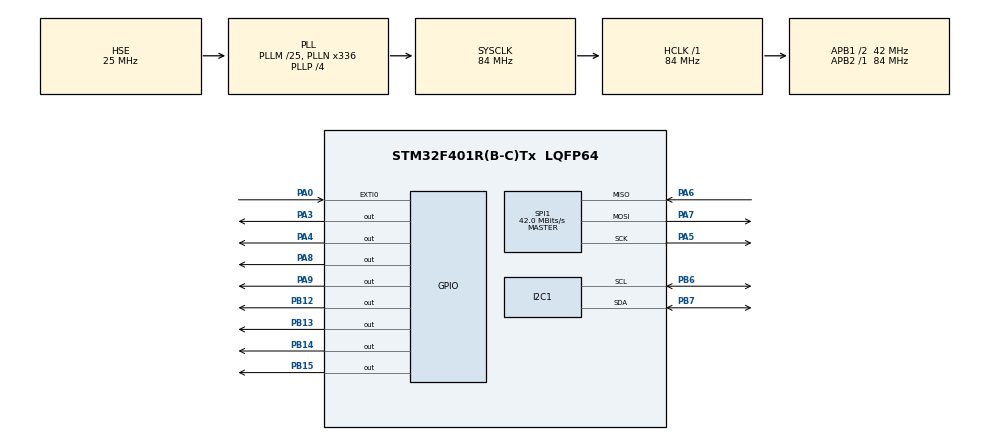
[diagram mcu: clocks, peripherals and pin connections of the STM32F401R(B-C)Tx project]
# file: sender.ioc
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Mcu.Family=STM32F4
Mcu.Name=STM32F401R(B-C)Tx
Mcu.Package=LQFP64
NVIC.PriorityGroup=NVIC_PRIORITYGROUP_4
PA0-WKUP.Signal=GPXTI0
PA3.GPIO_Speed=GPIO_SPEED_FREQ_HIGH
PA3.Signal=GPIO_Output
PA4.GPIO_Speed=GPIO_SPEED_FREQ_HIGH
PA4.Signal=GPIO_Output
PA5.Mode=Full_Duplex_Master
PA5.Signal=SPI1_SCK
PA6.Mode=Full_Duplex_Master
PA6.Signal=SPI1_MISO
PA7.Mode=Full_Duplex_Master
PA7.Signal=SPI1_MOSI
PA8.GPIO_Speed=GPIO_SPEED_FREQ_HIGH
PA8.Signal=GPIO_Output
PA9.GPIO_Speed=GPIO_SPEED_FREQ_HIGH
PA9.Signal=GPIO_Output
PB12.GPIO_Speed=GPIO_SPEED_FREQ_HIGH
PB12.Signal=GPIO_Output
PB13.GPIO_Speed=GPIO_SPEED_FREQ_HIGH
PB13.Signal=GPIO_Output
PB14.GPIO_Speed=GPIO_SPEED_FREQ_HIGH
PB14.Signal=GPIO_Output
PB15.GPIO_Speed=GPIO_SPEED_FREQ_HIGH
PB15.Signal=GPIO_Output
PB6.Mode=I2C
PB6.Signal=I2C1_SCL
PB7.Mode=I2C
PB7.Signal=I2C1_SDA
PC14-OSC32_IN.Mode=LSE-External-Oscillator
PC14-OSC32_IN.Signal=RCC_OSC32_IN
PC15-OSC32_OUT.Mode=LSE-External-Oscillator
PC15-OSC32_OUT.Signal=RCC_OSC32_OUT
PH0\ -\ OSC_IN.Mode=HSE-External-Oscillator
PH0\ -\ OSC_IN.Signal=RCC_OSC_IN
PH1\ -\ OSC_OUT.Mode=HSE-External-Oscillator
PH1\ -\ OSC_OUT.Signal=RCC_OSC_OUT
ProjectManager.HeapSize=0x200
ProjectManager.StackSize=0x400
ProjectManager.TargetToolchain=STM32CubeIDE
RCC.48MHZClocksFreq_Value=48000000
RCC.AHBFreq_Value=84000000
RCC.APB1CLKDivider=RCC_HCLK_DIV2
RCC.APB1Freq_Value=42000000
RCC.APB1TimFreq_Value=84000000
RCC.APB2Freq_Value=84000000
RCC.APB2TimFreq_Value=84000000
RCC.CortexFreq_Value=84000000
RCC.HCLKFreq_Value=84000000
RCC.HSE_VALUE=25000000
RCC.HSI_VALUE=16000000
RCC.PLLM=25
RCC.PLLN=336
RCC.PLLP=RCC_PLLP_DIV4
RCC.PLLQ=7
RCC.PLLSourceVirtual=RCC_PLLSOURCE_HSE
RCC.SYSCLKFreq_VALUE=84000000
RCC.SYSCLKSource=RCC_SYSCLKSOURCE_PLLCLK
RCC.VCOOutputFreq_Value=336000000
SPI1.CalculateBaudRate=42.0 MBits/s
SPI1.Direction=SPI_DIRECTION_2LINES
SPI1.Mode=SPI_MODE_MASTER
SPI1.VirtualType=VM_MASTER
board=custom

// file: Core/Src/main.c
/* USER CODE BEGIN Header */
/**
  ******************************************************************************
  * @file           : main.c
  * @brief          : Main program body
  ******************************************************************************
  */
/* USER CODE END Header */
#include "main.h"

/* USER CODE BEGIN Includes */
#include <stdio.h>
#include <string.h>
#include <math.h>
#include "huffman.h"
#include "convolutional.h"
#include "inv_mpu.h"
#include "inv_mpu_dmp_motion_driver.h"
/* USER CODE END Includes */

/* USER CODE BEGIN PD */
#ifndef M_PI
#define M_PI 3.14159265358979323846f
#endif
/* USER CODE END PD */

I2C_HandleTypeDef hi2c1;
SPI_HandleTypeDef hspi1;

/* USER CODE BEGIN PV */
uint32_t frame_counter = 0;
int32_t current_measurements[3] = {0};
int32_t previous_measurements[3] = {0};
int32_t data_matrix[3][101];
uint8_t matrix_column_idx = 0;

uint32_t timestamp_sample_first = 0;
uint32_t timestamp_sample_last = 0;

DataPacket_t tx_packet;
uint8_t channel_encoded_buffer[4096];
/* USER CODE END PV */

void SystemClock_Config(void);
static void MX_GPIO_Init(void);
static void MX_SPI1_Init(void);
static void MX_I2C1_Init(void);

/* USER CODE BEGIN PFP */
void LCD_Init(void);
void LCD_SendCommand(uint8_t cmd);
void LCD_SendData(uint8_t data);
void LCD_DisplayString(uint8_t row, uint8_t col, char *str);

void MPU6050_Read_DMP(int32_t *p, int32_t *y, int32_t *r);
void NRF24_Init(void);
void NRF24L01_Transmit(uint8_t *data, uint32_t size);
void NRF24L01_PingPong_Handler(void);
uint8_t NRF24_ReadReg(uint8_t reg);
/* USER CODE END PFP */

int main(void)
{

  /* MCU Configuration--------------------------------------------------------*/
  /* Reset of all peripherals, Initializes the Flash interface and the Systick. */
  HAL_Init();

  /* Configure the system clock */
  SystemClock_Config();

  /* Initialize all configured peripherals */
  MX_GPIO_Init();
  MX_SPI1_Init();
  MX_I2C1_Init();

  /* USER CODE BEGIN 2 */
  LCD_Init();
  NRF24_Init();

  uint8_t test_spi = NRF24_ReadReg(0x00);
  char test_msg[17];
  snprintf(test_msg, sizeof(test_msg), "SPI REG: 0x%02X  ", test_spi);

  LCD_SendCommand(0x01);
  LCD_DisplayString(0, 0, test_msg);
  HAL_Delay(3000);

  LCD_DisplayString(0, 0, "MPU Init...");
  while (mpu_init(NULL) != 0) {
      LCD_DisplayString(0, 0, "MPU Init Fail! ");
      HAL_Delay(500);
  }
  mpu_set_sensors(INV_XYZ_GYRO | INV_XYZ_ACCEL);
  mpu_configure_fifo(INV_XYZ_GYRO | INV_XYZ_ACCEL);
  dmp_load_motion_driver_firmware();
  dmp_enable_feature(DMP_FEATURE_6X_LP_QUAT | DMP_FEATURE_SEND_RAW_ACCEL | DMP_FEATURE_SEND_CAL_GYRO | DMP_FEATURE_GYRO_CAL);
  dmp_set_fifo_rate(100);
  mpu_set_dmp_state(1);

  LCD_DisplayString(0, 0, "MPU DMP OK!   ");
  HAL_Delay(1000);

  char lcd_line1[17];
  char lcd_line2[17];

  int32_t raw_pitch = 0, raw_yaw = 0, raw_roll = 0;
  /* USER CODE END 2 */

  /* Infinite loop */
  /* USER CODE BEGIN WHILE */
  while (1)
  {
    MPU6050_Read_DMP(&raw_pitch, &raw_yaw, &raw_roll);

    // Quantization
    current_measurements[0] = raw_pitch;
    current_measurements[1] = raw_yaw;
    current_measurements[2] = raw_roll;

    // Update LCD
    int16_t disp_p = (int16_t)(current_measurements[0] / 10);
    int16_t disp_y = (int16_t)(current_measurements[1] / 10);
    int16_t disp_r = (int16_t)(current_measurements[2] / 10);

    if (matrix_column_idx == 0) {
        timestamp_sample_first = HAL_GetTick();

        data_matrix[0][0] = current_measurements[0];
        data_matrix[1][0] = current_measurements[1];
        data_matrix[2][0] = current_measurements[2];

        previous_measurements[0] = current_measurements[0];
        previous_measurements[1] = current_measurements[1];
        previous_measurements[2] = current_measurements[2];
        matrix_column_idx = 1;
    }
    else {
        data_matrix[0][matrix_column_idx] = current_measurements[0] - previous_measurements[0];
        data_matrix[1][matrix_column_idx] = current_measurements[1] - previous_measurements[1];
        data_matrix[2][matrix_column_idx] = current_measurements[2] - previous_measurements[2];

        previous_measurements[0] = current_measurements[0];
        previous_measurements[1] = current_measurements[1];
        previous_measurements[2] = current_measurements[2];
        matrix_column_idx++;

        if (matrix_column_idx >= 101) {
        	// Update telemetry on LCD display
        	snprintf(lcd_line1, sizeof(lcd_line1), "%+04d %+05d %+05d", disp_p, disp_y, disp_r);
        	LCD_DisplayString(0, 0, lcd_line1);

            timestamp_sample_last = HAL_GetTick();

            tx_packet.frame_id = frame_counter++;
            tx_packet.delayMin = HAL_GetTick() - timestamp_sample_last;

            Process_Source_Coding(data_matrix, &tx_packet);

            tx_packet.delayMax = HAL_GetTick() - timestamp_sample_first;

            snprintf(lcd_line2, sizeof(lcd_line2), "E %02.3f C %02.2f", tx_packet.source_entropy, tx_packet.compression_ratio);
            LCD_DisplayString(1, 0, lcd_line2);

            memset(channel_encoded_buffer, 0, sizeof(channel_encoded_buffer));
            uint32_t encoded_bytes_len = Process_Channel_Coding((uint8_t*)&tx_packet, sizeof(DataPacket_t), channel_encoded_buffer);

            NRF24L01_Transmit(channel_encoded_buffer, encoded_bytes_len);

            NRF24L01_PingPong_Handler();

            matrix_column_idx = 0;

            mpu_reset_fifo();
        }
    }
    HAL_Delay(10);
    /* USER CODE END WHILE */

  }
}

void SystemClock_Config(void)
{
  RCC_OscInitTypeDef RCC_OscInitStruct = {0};
  RCC_ClkInitTypeDef RCC_ClkInitStruct = {0};

  __HAL_RCC_PWR_CLK_ENABLE();
  __HAL_PWR_VOLTAGESCALING_CONFIG(PWR_REGULATOR_VOLTAGE_SCALE2);

  RCC_OscInitStruct.OscillatorType = RCC_OSCILLATORTYPE_HSE;
  RCC_OscInitStruct.HSEState = RCC_HSE_ON;
  RCC_OscInitStruct.PLL.PLLState = RCC_PLL_ON;
  RCC_OscInitStruct.PLL.PLLSource = RCC_PLLSOURCE_HSE;
  RCC_OscInitStruct.PLL.PLLM = 25;
  RCC_OscInitStruct.PLL.PLLN = 336;
  RCC_OscInitStruct.PLL.PLLP = RCC_PLLP_DIV4;
  RCC_OscInitStruct.PLL.PLLQ = 7;
  if (HAL_RCC_OscConfig(&RCC_OscInitStruct) != HAL_OK)
  {
    Error_Handler();
  }

  RCC_ClkInitStruct.ClockType = RCC_CLOCKTYPE_HCLK|RCC_CLOCKTYPE_SYSCLK
                              |RCC_CLOCKTYPE_PCLK1|RCC_CLOCKTYPE_PCLK2;
  RCC_ClkInitStruct.SYSCLKSource = RCC_SYSCLKSOURCE_PLLCLK;
  RCC_ClkInitStruct.AHBCLKDivider = RCC_SYSCLK_DIV1;
  RCC_ClkInitStruct.APB1CLKDivider = RCC_HCLK_DIV2;
  RCC_ClkInitStruct.APB2CLKDivider = RCC_HCLK_DIV1;

  if (HAL_RCC_ClockConfig(&RCC_ClkInitStruct, FLASH_LATENCY_2) != HAL_OK)
  {
    Error_Handler();
  }
}

static void MX_I2C1_Init(void)
{

  hi2c1.Instance = I2C1;
  hi2c1.Init.ClockSpeed = 100000;
  hi2c1.Init.DutyCycle = I2C_DUTYCYCLE_2;
  hi2c1.Init.OwnAddress1 = 0;
  hi2c1.Init.AddressingMode = I2C_ADDRESSINGMODE_7BIT;
  hi2c1.Init.DualAddressMode = I2C_DUALADDRESS_DISABLE;
  hi2c1.Init.OwnAddress2 = 0;
  hi2c1.Init.GeneralCallMode = I2C_GENERALCALL_DISABLE;
  hi2c1.Init.NoStretchMode = I2C_NOSTRETCH_DISABLE;
  if (HAL_I2C_Init(&hi2c1) != HAL_OK)
  {
    Error_Handler();
  }
}

static void MX_SPI1_Init(void)
{

  hspi1.Instance = SPI1;
  hspi1.Init.Mode = SPI_MODE_MASTER;
  hspi1.Init.Direction = SPI_DIRECTION_2LINES;
  hspi1.Init.DataSize = SPI_DATASIZE_8BIT;
  hspi1.Init.CLKPolarity = SPI_POLARITY_LOW;
  hspi1.Init.CLKPhase = SPI_PHASE_1EDGE;
  hspi1.Init.NSS = SPI_NSS_SOFT;
  hspi1.Init.BaudRatePrescaler = SPI_BAUDRATEPRESCALER_16;
  hspi1.Init.FirstBit = SPI_FIRSTBIT_MSB;
  hspi1.Init.TIMode = SPI_TIMODE_DISABLE;
  hspi1.Init.CRCCalculation = SPI_CRCCALCULATION_DISABLE;
  hspi1.Init.CRCPolynomial = 10;
  if (HAL_SPI_Init(&hspi1) != HAL_OK)
  {
    Error_Handler();
  }
}

static void MX_GPIO_Init(void)
{
  GPIO_InitTypeDef GPIO_InitStruct = {0};

  /* GPIO Ports Clock Enable */
  __HAL_RCC_GPIOC_CLK_ENABLE();
  __HAL_RCC_GPIOH_CLK_ENABLE();
  __HAL_RCC_GPIOA_CLK_ENABLE();
  __HAL_RCC_GPIOB_CLK_ENABLE();

  /*Configure GPIO pin Output Level */
  HAL_GPIO_WritePin(GPIOA, GPIO_PIN_3|GPIO_PIN_4|GPIO_PIN_8|GPIO_PIN_9, GPIO_PIN_RESET);

  /*Configure GPIO pin Output Level */
  HAL_GPIO_WritePin(GPIOB, GPIO_PIN_12|GPIO_PIN_13|GPIO_PIN_14|GPIO_PIN_15, GPIO_PIN_RESET);

  /*Configure GPIO pin : PA0 */
  GPIO_InitStruct.Pin = GPIO_PIN_0;
  GPIO_InitStruct.Mode = GPIO_MODE_IT_RISING;
  GPIO_InitStruct.Pull = GPIO_NOPULL;
  HAL_GPIO_Init(GPIOA, &GPIO_InitStruct);

  /*Configure GPIO pins : PA3 PA4 PA8 PA9 */
  GPIO_InitStruct.Pin = GPIO_PIN_3|GPIO_PIN_4|GPIO_PIN_8|GPIO_PIN_9;
  GPIO_InitStruct.Mode = GPIO_MODE_OUTPUT_PP;
  GPIO_InitStruct.Pull = GPIO_NOPULL;
  GPIO_InitStruct.Speed = GPIO_SPEED_FREQ_HIGH;
  HAL_GPIO_Init(GPIOA, &GPIO_InitStruct);

  /*Configure GPIO pins : PB12 PB13 PB14 PB15 */
  GPIO_InitStruct.Pin = GPIO_PIN_12|GPIO_PIN_13|GPIO_PIN_14|GPIO_PIN_15;
  GPIO_InitStruct.Mode = GPIO_MODE_OUTPUT_PP;
  GPIO_InitStruct.Pull = GPIO_NOPULL;
  GPIO_InitStruct.Speed = GPIO_SPEED_FREQ_HIGH;
  HAL_GPIO_Init(GPIOB, &GPIO_InitStruct);

  /* USER CODE BEGIN MX_GPIO_Init_2 */
  GPIO_InitStruct.Pin = NRF_IRQ_PIN;
  GPIO_InitStruct.Mode = GPIO_MODE_INPUT;
  GPIO_InitStruct.Pull = GPIO_PULLUP;
  HAL_GPIO_Init(NRF_IRQ_GPIO_PORT, &GPIO_InitStruct);

  HAL_GPIO_WritePin(NRF_CE_GPIO_PORT, NRF_CE_PIN, GPIO_PIN_RESET);
  HAL_GPIO_WritePin(NRF_CSN_GPIO_PORT, NRF_CSN_PIN, GPIO_PIN_SET);
  /* USER CODE END MX_GPIO_Init_2 */
}

/* USER CODE BEGIN 4 */
void MPU6050_Read_DMP(int32_t *p, int32_t *y, int32_t *r) {
    short gyro[3], accel[3], sensors;
    long quat[4];
    unsigned char more;
    unsigned long timestamp;
    float q0, q1, q2, q3;
    float pitch, yaw, roll;

    if (dmp_read_fifo(gyro, accel, quat, &timestamp, &sensors, &more) == 0) {
        if (sensors & INV_WXYZ_QUAT) {
            q0 = quat[0] / 1073741824.0f;
            q1 = quat[1] / 1073741824.0f;
            q2 = quat[2] / 1073741824.0f;
            q3 = quat[3] / 1073741824.0f;

            pitch = asin(2.0f * (q0*q2 - q3*q1));
            yaw   = atan2(2.0f * (q0*q3 + q1*q2), q0*q0 + q1*q1 - q2*q2 - q3*q3);
            roll  = atan2(2.0f * (q0*q1 + q2*q3), q0*q0 - q1*q1 - q2*q2 + q3*q3);

            *p = (int32_t)(pitch * (180.0f / M_PI) * 100.0f);
            *y = (int32_t)(yaw * (180.0f / M_PI) * 100.0f);
            *r = (int32_t)(roll * (180.0f / M_PI) * 100.0f);
        }
    }
}

void NRF24_WriteReg(uint8_t reg, uint8_t data) {
    HAL_GPIO_WritePin(NRF_CSN_GPIO_PORT, NRF_CSN_PIN, GPIO_PIN_RESET);
    uint8_t cmd = 0x20 | reg;
    HAL_SPI_Transmit(&hspi1, &cmd, 1, 100);
    HAL_SPI_Transmit(&hspi1, &data, 1, 100);
    HAL_GPIO_WritePin(NRF_CSN_GPIO_PORT, NRF_CSN_PIN, GPIO_PIN_SET);
}

uint8_t NRF24_ReadReg(uint8_t reg) {
    uint8_t data;
    HAL_GPIO_WritePin(NRF_CSN_GPIO_PORT, NRF_CSN_PIN, GPIO_PIN_RESET);
    uint8_t cmd = 0x00 | reg;
    HAL_SPI_Transmit(&hspi1, &cmd, 1, 100);
    HAL_SPI_Receive(&hspi1, &data, 1, 100);
    HAL_GPIO_WritePin(NRF_CSN_GPIO_PORT, NRF_CSN_PIN, GPIO_PIN_SET);
    return data;
}

void NRF24_WritePayload(uint8_t *data, uint8_t len) {
    HAL_GPIO_WritePin(NRF_CSN_GPIO_PORT, NRF_CSN_PIN, GPIO_PIN_RESET);
    uint8_t cmd = 0xA0;
    HAL_SPI_Transmit(&hspi1, &cmd, 1, 100);
    HAL_SPI_Transmit(&hspi1, data, len, 100);
    HAL_GPIO_WritePin(NRF_CSN_GPIO_PORT, NRF_CSN_PIN, GPIO_PIN_SET);
}

void NRF24_ReadPayload(uint8_t *data, uint8_t len) {
    HAL_GPIO_WritePin(NRF_CSN_GPIO_PORT, NRF_CSN_PIN, GPIO_PIN_RESET);
    uint8_t cmd = 0x61;
    HAL_SPI_Transmit(&hspi1, &cmd, 1, 100);
    HAL_SPI_Receive(&hspi1, data, len, 100);
    HAL_GPIO_WritePin(NRF_CSN_GPIO_PORT, NRF_CSN_PIN, GPIO_PIN_SET);
}
void NRF24_WriteRegisterMulti(uint8_t reg, uint8_t *data, uint8_t len) {
    HAL_GPIO_WritePin(NRF_CSN_GPIO_PORT, NRF_CSN_PIN, GPIO_PIN_RESET);
    uint8_t cmd = 0x20 | reg;
    HAL_SPI_Transmit(&hspi1, &cmd, 1, 100);
    HAL_SPI_Transmit(&hspi1, data, len, 100);
    HAL_GPIO_WritePin(NRF_CSN_GPIO_PORT, NRF_CSN_PIN, GPIO_PIN_SET);
}

void NRF24_Init(void) {
    HAL_GPIO_WritePin(NRF_CE_GPIO_PORT, NRF_CE_PIN, GPIO_PIN_RESET);

    NRF24_WriteReg(0x00, 0x02);
    NRF24_WriteReg(0x01, 0x00);
    NRF24_WriteReg(0x02, 0x01);
    NRF24_WriteReg(0x03, 0x03);
    NRF24_WriteReg(0x05, 76);
    NRF24_WriteReg(0x06, 0x0F);
    NRF24_WriteReg(0x11, 32);

    uint8_t sync_addr[5] = {0x11, 0x22, 0x33, 0x44, 0x55};
    NRF24_WriteRegisterMulti(0x10, sync_addr, 5);
    NRF24_WriteRegisterMulti(0x0A, sync_addr, 5);

    HAL_Delay(2);
}

void NRF24L01_Transmit(uint8_t *data, uint32_t size) {
    uint32_t bytes_sent = 0;
    uint8_t tx_payload[32];

    uint8_t cfg = NRF24_ReadReg(0x00);
    NRF24_WriteReg(0x00, cfg & ~0x01);
    HAL_GPIO_WritePin(NRF_CE_GPIO_PORT, NRF_CE_PIN, GPIO_PIN_RESET);

    while (bytes_sent < size) {
        uint8_t chunk_size = (size - bytes_sent >= 32) ? 32 : (size - bytes_sent);
        memset(tx_payload, 0, 32);
        memcpy(tx_payload, &data[bytes_sent], chunk_size);

        NRF24_WriteReg(0x07, 0x30);

        NRF24_WritePayload(tx_payload, 32);

        HAL_GPIO_WritePin(NRF_CE_GPIO_PORT, NRF_CE_PIN, GPIO_PIN_SET);
        HAL_Delay(1);
        HAL_GPIO_WritePin(NRF_CE_GPIO_PORT, NRF_CE_PIN, GPIO_PIN_RESET);

        uint32_t tx_timeout = HAL_GetTick();
        while ((NRF24_ReadReg(0x07) & 0x30) == 0) {
            if (HAL_GetTick() - tx_timeout > 5) break;
        }

        bytes_sent += chunk_size;
    }
}

void NRF24L01_PingPong_Handler(void) {
    uint8_t cfg = NRF24_ReadReg(0x00);
    NRF24_WriteReg(0x00, cfg | 0x01);
    NRF24_WriteReg(0x07, 0x70);
    HAL_GPIO_WritePin(NRF_CE_GPIO_PORT, NRF_CE_PIN, GPIO_PIN_SET);

    HAL_Delay(1);

    uint32_t timeout_start = HAL_GetTick();
    uint8_t got_ping = 0;
    uint8_t rx_buf[32];

    while (HAL_GetTick() - timeout_start < 100) {
        if (NRF24_ReadReg(0x07) & 0x40) {
            NRF24_ReadPayload(rx_buf, 32);
            NRF24_WriteReg(0x07, 0x40);
            if (strncmp((char*)rx_buf, "PING", 4) == 0) {
                got_ping = 1;
                break;
            }
        }
    }

    if (got_ping) {
        HAL_GPIO_WritePin(NRF_CE_GPIO_PORT, NRF_CE_PIN, GPIO_PIN_RESET);
        cfg = NRF24_ReadReg(0x00);
        NRF24_WriteReg(0x00, cfg & ~0x01);
        NRF24_WriteReg(0x07, 0x70);

        uint8_t tx_payload[32] = {0};
        strcpy((char*)tx_payload, "PONG");
        NRF24_WritePayload(tx_payload, 32);

        HAL_Delay(2);

        HAL_GPIO_WritePin(NRF_CE_GPIO_PORT, NRF_CE_PIN, GPIO_PIN_SET);
        HAL_Delay(1);
        HAL_GPIO_WritePin(NRF_CE_GPIO_PORT, NRF_CE_PIN, GPIO_PIN_RESET);

        uint32_t pong_timeout = HAL_GetTick();
        while ((NRF24_ReadReg(0x07) & 0x20) == 0) {
            if (HAL_GetTick() - pong_timeout > 5) break;
        }
        NRF24_WriteReg(0x07, 0x20);
    }

    HAL_GPIO_WritePin(NRF_CE_GPIO_PORT, NRF_CE_PIN, GPIO_PIN_RESET);
}

void LCD_PulseEnable(void) {
    HAL_GPIO_WritePin(LCD_E_GPIO_PORT, LCD_E_PIN, GPIO_PIN_SET);
    HAL_Delay(1);
    HAL_GPIO_WritePin(LCD_E_GPIO_PORT, LCD_E_PIN, GPIO_PIN_RESET);
    HAL_Delay(1);
}

void LCD_Write4Bit(uint8_t val) {
    HAL_GPIO_WritePin(LCD_D4_GPIO_PORT, LCD_D4_PIN, (val >> 0) & 0x01);
    HAL_GPIO_WritePin(LCD_D5_GPIO_PORT, LCD_D5_PIN, (val >> 1) & 0x01);
    HAL_GPIO_WritePin(LCD_D6_GPIO_PORT, LCD_D6_PIN, (val >> 2) & 0x01);
    HAL_GPIO_WritePin(LCD_D7_GPIO_PORT, LCD_D7_PIN, (val >> 3) & 0x01);
    LCD_PulseEnable();
}

void LCD_SendCommand(uint8_t cmd) {
    HAL_GPIO_WritePin(LCD_RS_GPIO_PORT, LCD_RS_PIN, GPIO_PIN_RESET);
    LCD_Write4Bit(cmd >> 4);
    LCD_Write4Bit(cmd & 0x0F);
}

void LCD_SendData(uint8_t data) {
    HAL_GPIO_WritePin(LCD_RS_GPIO_PORT, LCD_RS_PIN, GPIO_PIN_SET);
    LCD_Write4Bit(data >> 4);
    LCD_Write4Bit(data & 0x0F);
}

void LCD_Init(void) {
    HAL_Delay(50);
    HAL_GPIO_WritePin(LCD_RS_GPIO_PORT, LCD_RS_PIN, GPIO_PIN_RESET);
    LCD_Write4Bit(0x03); HAL_Delay(5);
    LCD_Write4Bit(0x03); HAL_Delay(1);
    LCD_Write4Bit(0x03);
    LCD_Write4Bit(0x02);

    LCD_SendCommand(0x28);
    LCD_SendCommand(0x0C);
    LCD_SendCommand(0x06);
    LCD_SendCommand(0x01);
    HAL_Delay(2);
}

void LCD_DisplayString(uint8_t row, uint8_t col, char *str) {
    uint8_t address = (row == 0) ? (0x80 + col) : (0xC0 + col);
    LCD_SendCommand(address);
    while (*str) {
        LCD_SendData((uint8_t)*str++);
    }
}
/* USER CODE END 4 */

void Error_Handler(void)
{
  __disable_irq();
  while (1)
  {
  }
}
